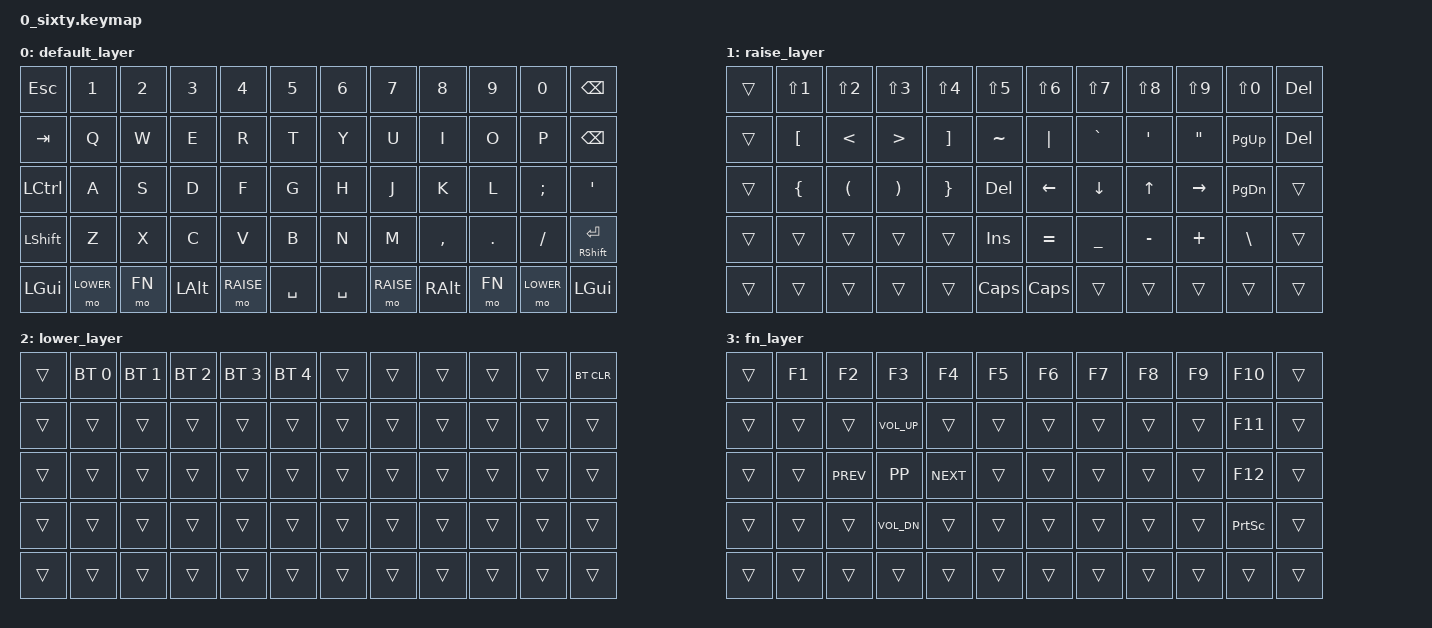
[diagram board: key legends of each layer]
/*
 * Copyright (c) 2020 The ZMK Contributors
 *
 * SPDX-License-Identifier: MIT
 */

#include <behaviors.dtsi>
#include <dt-bindings/zmk/keys.h>
#include <dt-bindings/zmk/bt.h>

#define DEFAULT 0
#define RAISE 1
#define LOWER 2
#define FN 3

/ {
	keymap0: keymap {
		compatible = "zmk,keymap";

		default_layer {
// ------------------------------------------------------------------------------------------
// | ESC  |  1  |  2  |  3  |  4  |  5  |  6  |  7  |  8  |  9  |  0  |  BKSP  |
// | TAB  |  Q  |  W  |  E  |  R  |  T  |  Y  |  U  |  I  |  O  |  P  |  ENTER |
// | CTL  |  A  |  S  |  D  |  F  |  G  |  H  |  J  |  K  |  L  |  ;  |  CTL   |
// | SHIFT|  Z  |  X  |  C  |  V  |  B  |  N  |  M  |  ,  |  .  |  /  |  SHIFT |
// | WIN  | MO2 | FN  | ALT | MO1 |   SPACE   | MO1 | ALT | FN  | MO2 |  WIN   |
// ------------------------------------------------------------------------------------------
			bindings = <
&kp ESC    &kp N1     &kp N2  &kp N3    &kp N4     &kp N5     &kp N6     &kp N7     &kp N8     &kp N9   &kp N0     &kp BSPC
&kp TAB    &kp Q      &kp W   &kp E     &kp R      &kp T      &kp Y      &kp U      &kp I      &kp O    &kp P      &kp BSPC
&kp LCTL   &kp A      &kp S   &kp D     &kp F      &kp G      &kp H      &kp J      &kp K      &kp L    &kp SEMI   &kp SQT
&kp LSHFT  &kp Z      &kp X   &kp C     &kp V      &kp B      &kp N      &kp M      &kp COMMA  &kp DOT  &kp FSLH   &mt RSHFT ENTER
&kp LGUI   &mo LOWER  &mo FN  &kp LALT  &mo RAISE  &kp SPACE  &kp SPACE  &mo RAISE  &kp RALT   &mo FN   &mo LOWER  &kp LGUI
			>;
		};

		raise_layer {
			bindings = <
&trans     &kp LS(N1)  &kp LS(N2)  &kp LS(N3)  &kp LS(N4)   &kp LS(N5)  &kp LS(N6)  &kp LS(N7)  &kp LS(N8)  &kp LS(N9)  &kp LS(N0)  &kp DEL     
&trans     &kp LBKT    &kp LT      &kp GT      &kp RBKT     &kp TILDE   &kp PIPE   &kp GRAVE   &kp APOS    &kp DQT     &kp PG_UP   &kp DEL    
&trans     &kp LBRC    &kp LPAR    &kp RPAR    &kp RBRC     &kp DEL     &kp LEFT    &kp DOWN    &kp UP      &kp RIGHT   &kp PG_DN   &trans 
&trans     &trans      &trans      &trans      &trans       &kp INS     &kp EQUAL   &kp UNDER   &kp MINUS   &kp PLUS    &kp BSLH    &trans     
&trans     &trans      &trans      &trans      &trans       &kp CAPS    &kp CAPS    &trans      &trans      &trans      &trans      &trans     
			>; 
		};

		lower_layer {
			bindings = <
&trans     &bt BT_SEL 0  &bt BT_SEL 1  &bt BT_SEL 2  &bt BT_SEL 3  &bt BT_SEL 4  &trans     &trans     &trans     &trans     &trans     &bt BT_CLR
&trans     &trans        &trans        &trans        &trans        &trans        &trans     &trans     &trans     &trans     &trans     &trans     
&trans     &trans        &trans        &trans        &trans        &trans        &trans     &trans     &trans     &trans     &trans     &trans     
&trans     &trans        &trans        &trans        &trans        &trans        &trans     &trans     &trans     &trans     &trans     &trans     
&trans     &trans        &trans        &trans        &trans        &trans        &trans     &trans     &trans     &trans     &trans     &trans     
			>;
		};

		fn_layer {
			bindings = <
&trans     &kp F1     &kp F2      &kp F3       &kp F4     &kp F5     &kp F6     &kp F7     &kp F8     &kp F9     &kp F10     &trans     
&trans     &trans     &trans      &kp K_VOL_UP &trans     &trans     &trans     &trans     &trans     &trans     &kp F11     &trans     
&trans     &trans     &kp K_PREV  &kp K_PP     &kp K_NEXT &trans     &trans     &trans     &trans     &trans     &kp F12     &trans     
&trans     &trans     &trans      &kp K_VOL_DN &trans     &trans     &trans     &trans     &trans     &trans     &kp PSCRN   &trans     
&trans     &trans     &trans      &trans       &trans     &trans     &trans     &trans     &trans     &trans     &trans      &trans     
			>;
		};
	};
};
